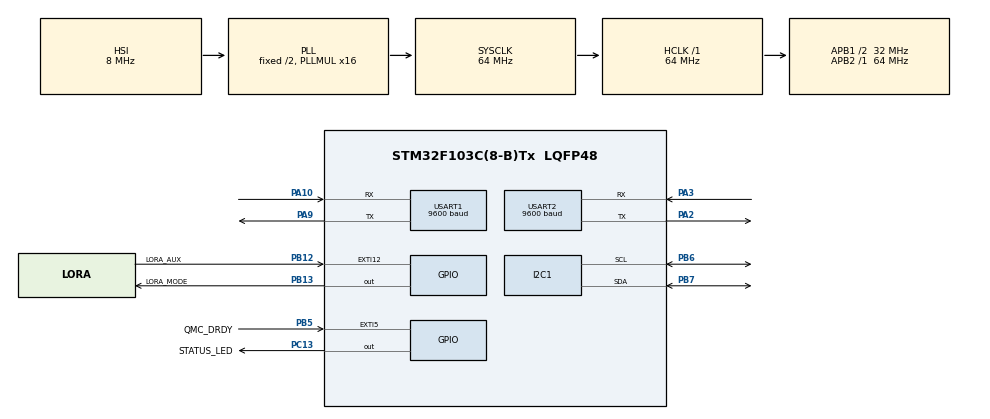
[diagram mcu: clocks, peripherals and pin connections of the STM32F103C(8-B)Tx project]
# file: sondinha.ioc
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Dma.Request0=USART1_RX
Dma.USART1_RX.0.Direction=DMA_PERIPH_TO_MEMORY
Dma.USART1_RX.0.Instance=DMA1_Channel5
Dma.USART1_RX.0.MemDataAlignment=DMA_MDATAALIGN_BYTE
Dma.USART1_RX.0.MemInc=DMA_MINC_ENABLE
Dma.USART1_RX.0.Mode=DMA_CIRCULAR
Dma.USART1_RX.0.PeriphDataAlignment=DMA_PDATAALIGN_BYTE
Dma.USART1_RX.0.PeriphInc=DMA_PINC_DISABLE
Dma.USART1_RX.0.Priority=DMA_PRIORITY_LOW
I2C1.I2C_Mode=I2C_Fast
Mcu.Family=STM32F1
Mcu.Name=STM32F103C(8-B)Tx
Mcu.Package=LQFP48
Mcu.UserConstants=I2C_SENSOR_TIMER,$$_TIM4_IP_HANDLE_$$;SENSOR_I2C,$$_I2C1_IP_HANDLE_$$;GNSS_UART,$$_USART1_IP_HANDLE_$$;RADIO_UART,$$_USART2_IP_HANDLE_$$;RADIO_TX_TIMER,$$_TIM3_IP_HANDLE_$$
NVIC.DMA1_Channel5_IRQn=true\:0\:0\:false\:false\:true\:false\:true\:true
NVIC.EXTI15_10_IRQn=true\:0\:0\:false\:false\:true\:true\:true\:true
NVIC.EXTI9_5_IRQn=true\:0\:0\:false\:false\:true\:true\:true\:true
NVIC.I2C1_EV_IRQn=true\:0\:0\:false\:false\:true\:true\:true\:true
NVIC.PriorityGroup=NVIC_PRIORITYGROUP_4
NVIC.TIM3_IRQn=true\:0\:0\:false\:false\:true\:true\:true\:true
NVIC.TIM4_IRQn=true\:0\:0\:false\:false\:true\:true\:true\:true
NVIC.USART1_IRQn=true\:0\:0\:false\:false\:true\:true\:true\:true
NVIC.USART2_IRQn=true\:0\:0\:false\:false\:true\:true\:true\:true
PA10.Mode=Asynchronous
PA10.Signal=USART1_RX
PA13.Mode=Serial_Wire
PA13.Signal=SYS_JTMS-SWDIO
PA14.Mode=Serial_Wire
PA14.Signal=SYS_JTCK-SWCLK
PA2.Mode=Asynchronous
PA2.Signal=USART2_TX
PA3.Mode=Asynchronous
PA3.Signal=USART2_RX
PA9.Mode=Asynchronous
PA9.Signal=USART1_TX
PB12.GPIO_Label=LORA_AUX
PB12.Signal=GPXTI12
PB13.GPIO_Label=LORA_MODE
PB13.Signal=GPIO_Output
PB5.GPIO_Label=QMC_DRDY
PB5.Signal=GPXTI5
PB6.Mode=I2C
PB6.Signal=I2C1_SCL
PB7.Mode=I2C
PB7.Signal=I2C1_SDA
PC13-TAMPER-RTC.GPIO_Label=STATUS_LED
PC13-TAMPER-RTC.Signal=GPIO_Output
ProjectManager.HeapSize=0x200
ProjectManager.StackSize=0x400
ProjectManager.TargetToolchain=STM32CubeIDE
RCC.ADCPresc=RCC_ADCPCLK2_DIV6
RCC.AHBFreq_Value=64000000
RCC.APB1CLKDivider=RCC_HCLK_DIV2
RCC.APB1Freq_Value=32000000
RCC.APB1TimFreq_Value=64000000
RCC.APB2Freq_Value=64000000
RCC.APB2TimFreq_Value=64000000
RCC.HCLKFreq_Value=64000000
RCC.PLLMUL=RCC_PLL_MUL16
RCC.SYSCLKFreq_VALUE=64000000
RCC.SYSCLKSource=RCC_SYSCLKSOURCE_PLLCLK
RCC.USBFreq_Value=64000000
TIM3.Period=10000-1
TIM3.Prescaler=6400-1
TIM3.TIM_MasterOutputTrigger=TIM_TRGO_UPDATE
TIM4.AutoReloadPreload=TIM_AUTORELOAD_PRELOAD_DISABLE
TIM4.Period=1000-1
TIM4.Prescaler=6400-1
USART1.BaudRate=9600
USART1.VirtualMode=VM_ASYNC
USART2.BaudRate=9600
USART2.VirtualMode=VM_ASYNC
VP_TIM3_VS_ClockSourceINT.Mode=Internal
VP_TIM4_VS_ClockSourceINT.Mode=Internal
board=custom

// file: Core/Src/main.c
/* USER CODE BEGIN Header */
/**
  ******************************************************************************
  * @file           : main.c
  * @brief          : Main program body
  ******************************************************************************
  * @attention
  *
  * Copyright (c) 2026 STMicroelectronics.
  * All rights reserved.
  *
  * This software is licensed under terms that can be found in the LICENSE file
  * in the root directory of this software component.
  * If no LICENSE file comes with this software, it is provided AS-IS.
  *
  ******************************************************************************
  */
/* USER CODE END Header */
#include "main.h"
#include "dma.h"
#include "i2c.h"
#include "tim.h"
#include "usart.h"
#include "gpio.h"

/* USER CODE BEGIN Includes */
#include <stdio.h>
#include <stdlib.h>
#include <string.h>

#include "aht.h"
#include "bmp280.h"
#include "qmc.h"
#include "ebyte.h"
#include "gnss.h"
#include "telemetry_protocol.h"
/* USER CODE END Includes */

/* USER CODE BEGIN PTD */
typedef enum {
    TX_IDLE,
    TX_WAKE,
    TX_SEND,
    TX_SLEEP
} TxSequence_t;
/* USER CODE END PTD */

/* USER CODE BEGIN PD */
#define I2C_SENSOR_TIMEOUT 100

// AHT10
#define AHT10_ADDRESS (0x38 << 1) // 0b1110000; Address[7-bit]Write/Read[1-bit]
#define AHT10_DRDY (1<<0)

// BMP280
#define BMP280_ADDRESS (0x76 << 1) // 0b1110110; Address[7-bit]Write/Read[1-bit]
#define BMP280_DRDY (1<<1)

// QMC5883L
#define QMC5883L_ADDRESS (0x0D << 1) // 0b0001101; Address[7-bit]Write/Read[1-bit]

// EBYTE Radio
#define GS_CHAN 0x46
#define GS_ADDR 0x1A2B
#define RADIO_TX (1<<2)
#define STATUS_LED_OFF (1<<3)

/* USER CODE END PD */

/* USER CODE BEGIN PV */
GNSS_Handle_t hgnss;

AHT_Handle_t haht;
AHT_Data_t aht_data;

BMP280_Handle_t hbmp;
BMP280_Data_t bmp_data;

QMC5883L_Handle_t hqmc;
QMC5883L_Data_t mag_data;

EBYTE_Handle_t hradio;
TxSequence_t radio_seq = TX_IDLE;
static uint8_t radio_packet[TELEMETRY_FRAME_SIZE];
static uint16_t seq = 0;

volatile uint8_t tim_flags = 0;
/* USER CODE END PV */

void SystemClock_Config(void);
/* USER CODE BEGIN PFP */
static uint8_t app_telemetry_prep(void);
/* USER CODE END PFP */

/* USER CODE BEGIN 0 */
// Send printf to uart1
#ifdef DEBUG_UART
int _write(int fd, char* ptr, int len) {
  HAL_StatusTypeDef hstatus;

  if (fd == 1 || fd == 2) {
    hstatus = HAL_UART_Transmit(&DEBUG_UART, (uint8_t*)ptr, len, HAL_MAX_DELAY);
    if (hstatus == HAL_OK)
      return len;
    else
      return -1;
  }
  return -1;
}
#endif

void HAL_UARTEx_RxEventCallback(UART_HandleTypeDef *huart, uint16_t offset) {
    if (huart == hgnss.huart)
        GNSS_RxCallback(&hgnss, offset);
}

void HAL_TIM_PeriodElapsedCallback(TIM_HandleTypeDef *htim) {
	if(htim == &I2C_SENSOR_TIMER) {
		tim_flags |= AHT10_DRDY;
		tim_flags |= BMP280_DRDY;
		if (tim_flags & STATUS_LED_OFF) {
			tim_flags &= ~STATUS_LED_OFF;
			HAL_GPIO_WritePin(STATUS_LED_GPIO_Port,
							  STATUS_LED_Pin,
							  GPIO_PIN_SET);
		}
	} if (htim == &RADIO_TX_TIMER) {
		tim_flags |= RADIO_TX;
	}
}

void HAL_GPIO_EXTI_Callback(uint16_t GPIO_Pin)
{
    if (GPIO_Pin == QMC_DRDY_Pin) {
        QMC5883L_OnDataReadyIRQ(&hqmc);
    }
    if (GPIO_Pin == LORA_AUX_Pin) {
    	EBYTE_AuxCallback(&hradio);
    }
}

void HAL_UART_TxCpltCallback(UART_HandleTypeDef *huart) {
	EBYTE_TxCpltCallback(&hradio, huart);
}
/* USER CODE END 0 */

int main(void)
{

  /* MCU Configuration--------------------------------------------------------*/

  /* Reset of all peripherals, Initializes the Flash interface and the Systick. */
  HAL_Init();

  /* Configure the system clock */
  SystemClock_Config();

  /* Initialize all configured peripherals */
  MX_GPIO_Init();
  MX_DMA_Init();
  MX_USART1_UART_Init();
  MX_I2C1_Init();
  MX_TIM4_Init();
  MX_TIM3_Init();
  MX_USART2_UART_Init();
  /* USER CODE BEGIN 2 */
  GNSS_Init(&hgnss, &GNSS_UART);

  hradio = (EBYTE_Handle_t){
		  .huart = &RADIO_UART,

		  .m0_gpio_port = LORA_MODE_GPIO_Port,
		  .m0_pin = LORA_MODE_Pin,
		  .m1_gpio_port = LORA_MODE_GPIO_Port,
		  .m1_pin = LORA_MODE_Pin,

		  .aux_gpio_port = LORA_AUX_GPIO_Port,
		  .aux_pin = LORA_AUX_Pin
  };

  AHT_Init(&haht, &SENSOR_I2C, AHT10_ADDRESS, I2C_SENSOR_TIMEOUT);
  AHT_TriggerMeasurement(&haht);

  BMP280_Init(&hbmp, &hi2c1, BMP280_ADDRESS, I2C_SENSOR_TIMEOUT);
  BMP280_Ctrl_t bmp_ctrl_cfg = {
      .osrs_t = BMP280_OSRS_X4,
      .osrs_p = BMP280_OSRS_X1,
      .mode   = BMP280_MODE_NORMAL
  };
  BMP280_Config_t bmp_config_cfg = {
      .standby = BMP280_STANDBY_62_5MS,
      .filter  = BMP280_FILTER_4,
      .spi3w_enable = 0
  };

  BMP280_SetMode(&hbmp, BMP280_CtrlEncode(&bmp_ctrl_cfg));
  BMP280_SetConfig(&hbmp, BMP280_ConfigEncode(&bmp_config_cfg));

	HAL_TIM_Base_Start_IT(&I2C_SENSOR_TIMER);

	QMC5883L_Init(&hqmc, &hi2c1, QMC5883L_ADDRESS, I2C_SENSOR_TIMEOUT);
	QMC5883L_Ctrl1_t qmc_ctrl1_cfg = {
	    .osr = QMC5883L_OSR_128,
	    .range = QMC5883L_RANGE_2G,
	    .odr = QMC5883L_ODR_10HZ,
	    .mode = QMC5883L_CONTINUOUS
	};
	QMC5883L_Ctrl2_t qmc_ctrl2_cfg = {
		.interrupt = QMC5883L_INT_ENABLE,
		.roll_pointer = QMC5883L_ROL_ENABLE
	};

	QMC5883L_SetCtrl1(&hqmc, QMC5883L_Ctrl1Encode(&qmc_ctrl1_cfg));
	QMC5883L_SetCtrl2(&hqmc, QMC5883L_Ctrl2Encode(&qmc_ctrl2_cfg));
	hqmc.events |= QMC_EVT_DATA_READY;

	EBYTE_Init(&hradio);
	EBYTE_Sleep(&hradio);
	HAL_TIM_Base_Start_IT(&RADIO_TX_TIMER);
  /* USER CODE END 2 */

  /* Infinite loop */
  /* USER CODE BEGIN WHILE */
  while (1)
  {
	  if (hgnss.events & GNSS_EVT_LINE_READY) {
		  hgnss.events &= ~GNSS_EVT_LINE_READY;
		  GNSS_Process(&hgnss);
	  }

	  if (hgnss.events & GNSS_EVT_FIX_VALID) {
		  hgnss.events &= ~GNSS_EVT_FIX_VALID;
		  // GPS FIX VALID
	  }
	  if (tim_flags & AHT10_DRDY) {
		  if (AHT_ReadData(&haht, &aht_data) == HAL_OK) {
			  tim_flags &= ~AHT10_DRDY;
			  AHT_TriggerMeasurement(&haht);
		  }
	  }
	  if (tim_flags & BMP280_DRDY) {
		  if (BMP280_ReadData(&hbmp, &bmp_data) == HAL_OK)
			tim_flags &= ~BMP280_DRDY;
	  }

	  if (hqmc.events & QMC_EVT_DATA_READY){
		  hqmc.events &= ~QMC_EVT_DATA_READY;
		  HAL_StatusTypeDef status = QMC5883L_ReadData(&hqmc, &mag_data);

		  if (status == HAL_OK) {
			  int16_t temp;
			  (void)QMC5883L_ReadTemp(&hqmc, &temp);

			  if (hqmc.events & QMC_EVT_OVERFLOW) {
				  //overflow!
				  hqmc.events &= ~QMC_EVT_OVERFLOW;
			  }
		  }
	  }

	  if ((tim_flags & RADIO_TX) && radio_seq == TX_IDLE) {
		  tim_flags &= ~(RADIO_TX);

		  if (app_telemetry_prep() == TELEMETRY_OK) {
			  seq++;
			  radio_seq = TX_WAKE;
		  }
	  }

	  switch (radio_seq) {
	  case TX_IDLE:
		  break;

	  case TX_WAKE:
		  if (hradio.state == EBYTE_SLEEP) {
			  EBYTE_WakeUp(&hradio);
		  } else if (hradio.state == EBYTE_IDLE) {
			  radio_seq = TX_SEND;
		  }
		  break;

	  case TX_SEND:
		  if (hradio.state == EBYTE_IDLE) {
			  if (EBYTE_Transmit(&hradio, GS_ADDR, GS_CHAN, radio_packet, TELEMETRY_FRAME_SIZE) == EBYTE_OK) {
				  radio_seq = TX_SLEEP;
				  HAL_GPIO_WritePin(STATUS_LED_GPIO_Port,
				                    STATUS_LED_Pin,
				                    GPIO_PIN_RESET);
			  tim_flags |= STATUS_LED_OFF;
			  }
		  }
		  break;

	  case TX_SLEEP:
		  if (hradio.state == EBYTE_IDLE) EBYTE_Sleep(&hradio);
		  else if (hradio.state == EBYTE_SLEEP) radio_seq = TX_IDLE;
	  }

	  __WFI();
    /* USER CODE END WHILE */

	}
}

void SystemClock_Config(void)
{
  RCC_OscInitTypeDef RCC_OscInitStruct = {0};
  RCC_ClkInitTypeDef RCC_ClkInitStruct = {0};

  /** Initializes the RCC Oscillators according to the specified parameters
  * in the RCC_OscInitTypeDef structure.
  */
  RCC_OscInitStruct.OscillatorType = RCC_OSCILLATORTYPE_HSI;
  RCC_OscInitStruct.HSIState = RCC_HSI_ON;
  RCC_OscInitStruct.HSICalibrationValue = RCC_HSICALIBRATION_DEFAULT;
  RCC_OscInitStruct.PLL.PLLState = RCC_PLL_ON;
  RCC_OscInitStruct.PLL.PLLSource = RCC_PLLSOURCE_HSI_DIV2;
  RCC_OscInitStruct.PLL.PLLMUL = RCC_PLL_MUL16;
  if (HAL_RCC_OscConfig(&RCC_OscInitStruct) != HAL_OK)
  {
    Error_Handler();
  }

  /** Initializes the CPU, AHB and APB buses clocks
  */
  RCC_ClkInitStruct.ClockType = RCC_CLOCKTYPE_HCLK|RCC_CLOCKTYPE_SYSCLK
                              |RCC_CLOCKTYPE_PCLK1|RCC_CLOCKTYPE_PCLK2;
  RCC_ClkInitStruct.SYSCLKSource = RCC_SYSCLKSOURCE_PLLCLK;
  RCC_ClkInitStruct.AHBCLKDivider = RCC_SYSCLK_DIV1;
  RCC_ClkInitStruct.APB1CLKDivider = RCC_HCLK_DIV2;
  RCC_ClkInitStruct.APB2CLKDivider = RCC_HCLK_DIV1;

  if (HAL_RCC_ClockConfig(&RCC_ClkInitStruct, FLASH_LATENCY_2) != HAL_OK)
  {
    Error_Handler();
  }
}

/* USER CODE BEGIN 4 */
static uint8_t app_telemetry_prep(void) {
	TelemetrySystem_t sys_data = {
			.bat_volt = UINT16_MAX,
			.sys_flag = 0
	};

	TelemetryNav_t nav_data = {
			.lat_e7 = hgnss.data.lat_e7,
			.lon_e7 = hgnss.data.lon_e7,
			.alt_m = hgnss.data.alt_m,
			.speed_ckt = hgnss.data.speed_centi_knot,
			.course_cdeg = hgnss.data.course_centi_deg,
			.sat_num = hgnss.data.satellites,
			.fix = hgnss.data.fix
	};

	TelemetryAmb_t amb_data = {
			.temp_aht = aht_data.temp,
			.humi = aht_data.humi,
			.pres = bmp_data.pres,
			.temp_bmp = (int16_t)bmp_data.temp
	};

	TelemetryMag_t mag_tel = {
			.mag_x = mag_data.x_axis,
			.mag_y = mag_data.y_axis,
			.mag_z = mag_data.z_axis
	};

	TelemetryData_t tel_pkt = {
			.amb_data = amb_data,
			.system_data = sys_data,
			.nav_data = nav_data,
			.mag_data = mag_tel
	};

	return telemetry_serialize(&tel_pkt, seq, radio_packet, sizeof(radio_packet));
}
/* USER CODE END 4 */

void Error_Handler(void)
{
  __disable_irq();
  while (1)
  {
  }
}
